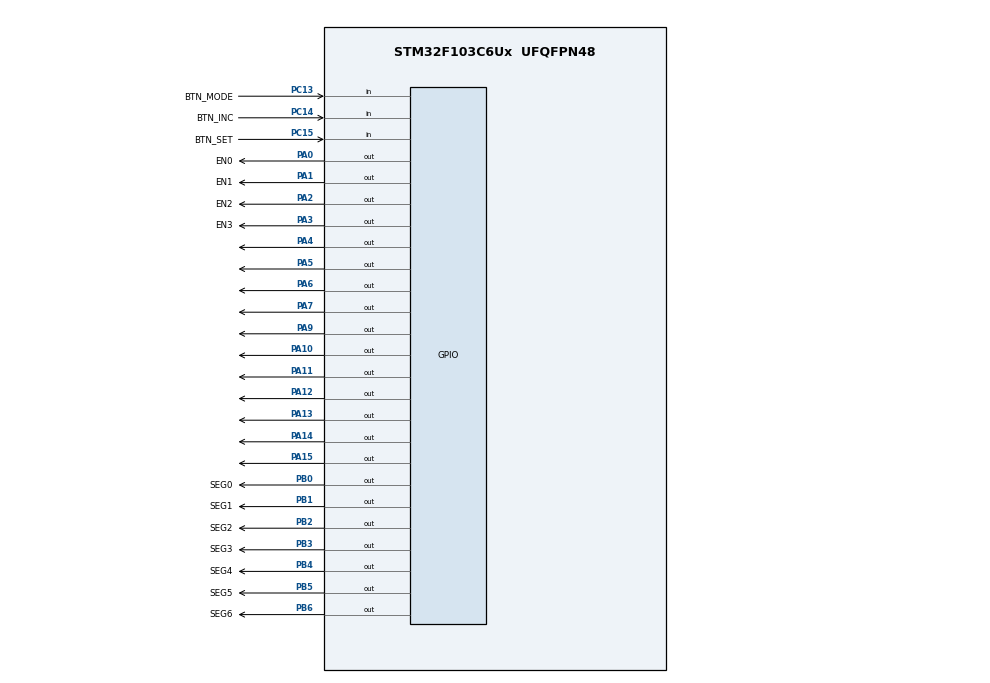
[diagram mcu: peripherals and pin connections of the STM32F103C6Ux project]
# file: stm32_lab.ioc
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Mcu.Family=STM32F1
Mcu.Name=STM32F103C6Ux
Mcu.Package=UFQFPN48
NVIC.PriorityGroup=NVIC_PRIORITYGROUP_4
NVIC.TIM2_IRQn=true\:0\:0\:false\:false\:true\:true\:true
PA0-WKUP.GPIO_Label=EN0
PA0-WKUP.Signal=GPIO_Output
PA1.GPIO_Label=EN1
PA1.Signal=GPIO_Output
PA10.Signal=GPIO_Output
PA11.Signal=GPIO_Output
PA12.Signal=GPIO_Output
PA13.Signal=GPIO_Output
PA14.Signal=GPIO_Output
PA15.Signal=GPIO_Output
PA2.GPIO_Label=EN2
PA2.Signal=GPIO_Output
PA3.GPIO_Label=EN3
PA3.Signal=GPIO_Output
PA4.Signal=GPIO_Output
PA5.Signal=GPIO_Output
PA6.Signal=GPIO_Output
PA7.Signal=GPIO_Output
PA9.Signal=GPIO_Output
PB0.GPIO_Label=SEG0
PB0.Signal=GPIO_Output
PB1.GPIO_Label=SEG1
PB1.Signal=GPIO_Output
PB2.GPIO_Label=SEG2
PB2.Signal=GPIO_Output
PB3.GPIO_Label=SEG3
PB3.Signal=GPIO_Output
PB4.GPIO_Label=SEG4
PB4.Signal=GPIO_Output
PB5.GPIO_Label=SEG5
PB5.Signal=GPIO_Output
PB6.GPIO_Label=SEG6
PB6.Signal=GPIO_Output
PC13-TAMPER-RTC.GPIO_Label=BTN_MODE
PC13-TAMPER-RTC.GPIO_PuPd=GPIO_PULLUP
PC13-TAMPER-RTC.Signal=GPIO_Input
PC14-OSC32_IN.GPIO_Label=BTN_INC
PC14-OSC32_IN.GPIO_PuPd=GPIO_PULLUP
PC14-OSC32_IN.Signal=GPIO_Input
PC15-OSC32_OUT.GPIO_Label=BTN_SET
PC15-OSC32_OUT.GPIO_PuPd=GPIO_PULLUP
PC15-OSC32_OUT.Signal=GPIO_Input
ProjectManager.HeapSize=0x200
ProjectManager.StackSize=0x400
ProjectManager.TargetToolchain=STM32CubeIDE
RCC.APB1Freq_Value=8000000
RCC.APB2Freq_Value=8000000
TIM2.Period=99
TIM2.Prescaler=799
VP_SYS_VS_ND.Mode=No_Debug
VP_TIM2_VS_ClockSourceINT.Mode=Internal
board=custom

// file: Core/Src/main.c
/*EX4*/
/* USER CODE BEGIN Header */
/**
 ******************************************************************************
 * @file    : main.c
 * @brief   : Lab 3 - Exercise 4
 *            TIM2 interrupt period: 1 / 10 / 100 ms
 *            Test LED on PA5 blinks at 2 Hz (average at 100 ms).
 ******************************************************************************
 */
/* USER CODE END Header */

#include "main.h"

/* USER CODE BEGIN Includes */
#include "software_timer.h"
/* USER CODE END Includes */

/* USER CODE BEGIN PD */
/* Change to 1U, 10U, or 100U to test Ex4. */
#define TIMER_INTERRUPT_MS 10U

/* TIM2 input clock = 8 MHz; PSC = 799 -> 10,000 counts per second. */
#define TIMER_COUNTS_PER_MS 10U
#define LED_TOGGLE_MS       250U
#define TEST_LED_PORT       GPIOA
#define TEST_LED_PIN        GPIO_PIN_5
/* USER CODE END PD */

TIM_HandleTypeDef htim2;

/* USER CODE BEGIN PV */
volatile uint32_t timer_ticks = 0U;
static uint32_t last_toggle_ms = 0U;
/* USER CODE END PV */

void SystemClock_Config(void);
static void MX_GPIO_Init(void);
static void MX_TIM2_Init(void);

int main(void)
{

  HAL_Init();

  SystemClock_Config();

  MX_GPIO_Init();
  MX_TIM2_Init();

  /* USER CODE BEGIN 2 */
  SoftwareTimer_Init();
  last_toggle_ms = SoftwareTimer_Millis();

  /* PA5 LED on the Proteus schematic is assumed active-high. */
  HAL_GPIO_WritePin(TEST_LED_PORT, TEST_LED_PIN, GPIO_PIN_RESET);

  /* Change ARR without rewriting the LED timing logic. */
  __HAL_TIM_SET_AUTORELOAD(
      &htim2,
      TIMER_INTERRUPT_MS * TIMER_COUNTS_PER_MS - 1U);
  __HAL_TIM_SET_COUNTER(&htim2, 0U);
  __HAL_TIM_CLEAR_FLAG(&htim2, TIM_FLAG_UPDATE);

  if (HAL_TIM_Base_Start_IT(&htim2) != HAL_OK)
  {
	  Error_Handler();
  }
	    /* USER CODE END 2 */

	    /* Infinite loop */
while (1)
  {

    /* USER CODE BEGIN 3 */
    uint32_t now = SoftwareTimer_Millis();

    /* Preserve the 250-ms schedule, including leftover time at 100-ms ticks. */
    if ((uint32_t)(now - last_toggle_ms) >= LED_TOGGLE_MS)
    {
      last_toggle_ms += LED_TOGGLE_MS;
      HAL_GPIO_TogglePin(TEST_LED_PORT, TEST_LED_PIN);
    }
    /* USER CODE END 3 */
  }
}
void SystemClock_Config(void)
{
  RCC_OscInitTypeDef RCC_OscInitStruct = {0};
  RCC_ClkInitTypeDef RCC_ClkInitStruct = {0};

  RCC_OscInitStruct.OscillatorType = RCC_OSCILLATORTYPE_HSI;
  RCC_OscInitStruct.HSIState = RCC_HSI_ON;
  RCC_OscInitStruct.HSICalibrationValue = RCC_HSICALIBRATION_DEFAULT;
  RCC_OscInitStruct.PLL.PLLState = RCC_PLL_NONE;
  if (HAL_RCC_OscConfig(&RCC_OscInitStruct) != HAL_OK)
  {
    Error_Handler();
  }

  RCC_ClkInitStruct.ClockType = RCC_CLOCKTYPE_HCLK | RCC_CLOCKTYPE_SYSCLK |
                                RCC_CLOCKTYPE_PCLK1 | RCC_CLOCKTYPE_PCLK2;
  RCC_ClkInitStruct.SYSCLKSource = RCC_SYSCLKSOURCE_HSI;
  RCC_ClkInitStruct.AHBCLKDivider = RCC_SYSCLK_DIV1;
  RCC_ClkInitStruct.APB1CLKDivider = RCC_HCLK_DIV1;
  RCC_ClkInitStruct.APB2CLKDivider = RCC_HCLK_DIV1;
  if (HAL_RCC_ClockConfig(&RCC_ClkInitStruct, FLASH_LATENCY_0) != HAL_OK)
  {
    Error_Handler();
  }
}

static void MX_TIM2_Init(void)
{

  TIM_ClockConfigTypeDef sClockSourceConfig = {0};
  TIM_MasterConfigTypeDef sMasterConfig = {0};

  htim2.Instance = TIM2;
  htim2.Init.Prescaler = 799;
  htim2.Init.CounterMode = TIM_COUNTERMODE_UP;
  htim2.Init.Period = 99;
  htim2.Init.ClockDivision = TIM_CLOCKDIVISION_DIV1;
  htim2.Init.AutoReloadPreload = TIM_AUTORELOAD_PRELOAD_DISABLE;
  if (HAL_TIM_Base_Init(&htim2) != HAL_OK)
  {
    Error_Handler();
  }
  sClockSourceConfig.ClockSource = TIM_CLOCKSOURCE_INTERNAL;
    if (HAL_TIM_ConfigClockSource(&htim2, &sClockSourceConfig) != HAL_OK)
    {
      Error_Handler();
    }

    sMasterConfig.MasterOutputTrigger = TIM_TRGO_RESET;
    sMasterConfig.MasterSlaveMode = TIM_MASTERSLAVEMODE_DISABLE;
    if (HAL_TIMEx_MasterConfigSynchronization(&htim2, &sMasterConfig) != HAL_OK)
    {
      Error_Handler();
    }

  }

  /**
   * @brief GPIO Initialization Function
   */
  static void MX_GPIO_Init(void)
  {
    GPIO_InitTypeDef GPIO_InitStruct = {0};

    __HAL_RCC_GPIOC_CLK_ENABLE();
    __HAL_RCC_GPIOA_CLK_ENABLE();
    __HAL_RCC_GPIOB_CLK_ENABLE();

    /* PNP digit enables are active-low: HIGH = disabled. */
    HAL_GPIO_WritePin(GPIOA, EN0_Pin | EN1_Pin | EN2_Pin | EN3_Pin,
                      GPIO_PIN_SET);

    /* Traffic LEDs: the physical ON polarity varies with wiring. */
    HAL_GPIO_WritePin(GPIOA,
                      GPIO_PIN_4 | GPIO_PIN_5 | GPIO_PIN_6 | GPIO_PIN_7 |
                      GPIO_PIN_8 | GPIO_PIN_9 | GPIO_PIN_10 | GPIO_PIN_11 |
                      GPIO_PIN_12 | GPIO_PIN_13 | GPIO_PIN_14 | GPIO_PIN_15,
                      GPIO_PIN_RESET);

    /* Common-anode segment lines are active-low: HIGH = disabled. */
    HAL_GPIO_WritePin(GPIOB, SEG0_Pin | SEG1_Pin | SEG2_Pin | SEG3_Pin |
                             SEG4_Pin | SEG5_Pin | SEG6_Pin, GPIO_PIN_SET);

    GPIO_InitStruct.Pin = BTN_MODE_Pin | BTN_INC_Pin | BTN_SET_Pin;
    GPIO_InitStruct.Mode = GPIO_MODE_INPUT;
    GPIO_InitStruct.Pull = GPIO_PULLUP;
    HAL_GPIO_Init(GPIOC, &GPIO_InitStruct);

    GPIO_InitStruct.Pin = EN0_Pin | EN1_Pin | EN2_Pin | EN3_Pin;
    GPIO_InitStruct.Mode = GPIO_MODE_OUTPUT_PP;
    GPIO_InitStruct.Pull = GPIO_NOPULL;
    GPIO_InitStruct.Speed = GPIO_SPEED_FREQ_LOW;
    HAL_GPIO_Init(GPIOA, &GPIO_InitStruct);

    GPIO_InitStruct.Pin = GPIO_PIN_4 | GPIO_PIN_5 | GPIO_PIN_6 | GPIO_PIN_7 |
                          GPIO_PIN_8 | GPIO_PIN_9 | GPIO_PIN_10 | GPIO_PIN_11 |
                          GPIO_PIN_12 | GPIO_PIN_13 | GPIO_PIN_14 | GPIO_PIN_15;
    GPIO_InitStruct.Mode = GPIO_MODE_OUTPUT_PP;
    GPIO_InitStruct.Pull = GPIO_NOPULL;
    GPIO_InitStruct.Speed = GPIO_SPEED_FREQ_LOW;
    HAL_GPIO_Init(GPIOA, &GPIO_InitStruct);

    GPIO_InitStruct.Pin = SEG0_Pin | SEG1_Pin | SEG2_Pin | SEG3_Pin |
                          SEG4_Pin | SEG5_Pin | SEG6_Pin;
    GPIO_InitStruct.Mode = GPIO_MODE_OUTPUT_PP;
    GPIO_InitStruct.Pull = GPIO_NOPULL;
    GPIO_InitStruct.Speed = GPIO_SPEED_FREQ_LOW;
    HAL_GPIO_Init(GPIOB, &GPIO_InitStruct);
  }

  /* USER CODE BEGIN 4 */
  void HAL_TIM_PeriodElapsedCallback(TIM_HandleTypeDef *htim)
  {
    if (htim->Instance == TIM2)
    {
      timer_ticks++;
      SoftwareTimer_TickISR(TIMER_INTERRUPT_MS);
    }
  }
  /* USER CODE END 4 */

  /**
   * @brief Error Handler
   */
  void Error_Handler(void)
  {
    __disable_irq();
    while (1)
    {
    }
  }

  #ifdef USE_FULL_ASSERT
  void assert_failed(uint8_t *file, uint32_t line)
  {
    /* USER CODE BEGIN 6 */
    (void)file;
    (void)line;
    /* USER CODE END 6 */
  }
  #endif /* USE_FULL_ASSERT */
